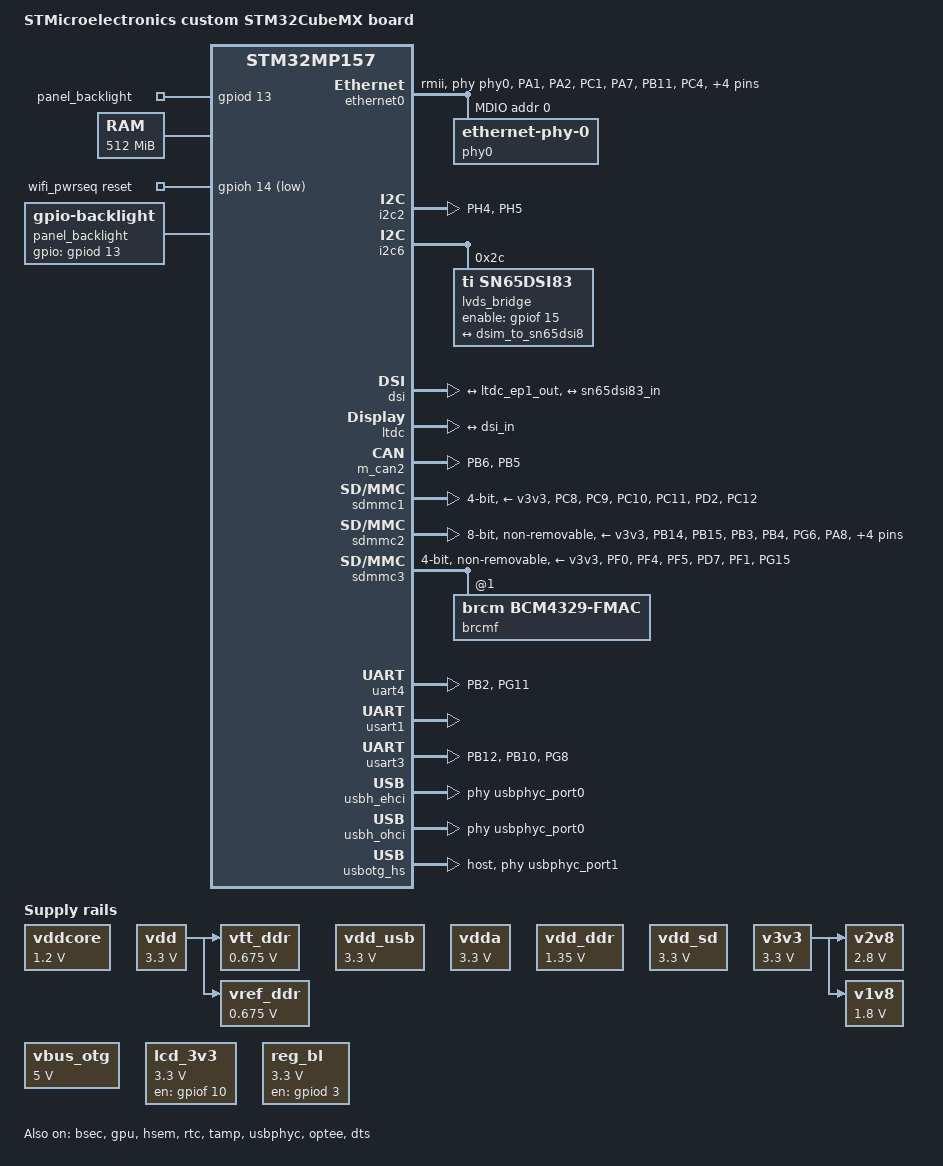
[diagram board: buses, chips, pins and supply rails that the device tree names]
/* SPDX-License-Identifier: (GPL-2.0+ OR BSD-3-Clause) */
/*
 * Copyright (C) STMicroelectronics 2020 - All Rights Reserved
 * Author: STM32CubeMX code generation for STMicroelectronics.
 */

/* For more information on Device Tree configuration, please refer to
 * https://wiki.st.com/stm32mpu/wiki/Category:Device_tree_configuration
 */

/dts-v1/;
#include <dt-bindings/pinctrl/stm32-pinfunc.h>

#include "stm32mp157.dtsi"
#include "stm32mp15xa.dtsi"
#include "stm32mp15-pinctrl.dtsi"
#include "stm32mp15xxaa-pinctrl.dtsi"
#include "stm32mp157-m4-srm.dtsi"
#include "stm32mp157-m4-srm-pinctrl.dtsi"

/* STM32MP157A
 * 512 DDR
 * 640MHz
 */

/ {
	model = "STMicroelectronics custom STM32CubeMX board";
	compatible = "st,stm32mp157a-icorestm32-mx", "st,stm32mp157";

	aliases {
		ethernet0 = &ethernet0;
		serial0 = &uart4; /*LINUX CONSOLE*/
		serial1 = &usart1; /*RS232*/
		serial2 = &usart3; /*RS485 */
	};

	usb_phy_tuning: usb-phy-tuning {
		st,hs-dc-level = <2>;
		st,fs-rftime-tuning;
		st,hs-rftime-reduction;
		st,hs-current-trim = <15>;
		st,hs-impedance-trim = <1>;
		st,squelch-level = <3>;
		st,hs-rx-offset = <2>;
		st,no-lsfs-sc;
	};

	gpio_export {
		compatible = "gpio-export";
		#size-cells = <0>;
		gpio-backlight {
			gpio-export,name = "panel_backlight";
			gpio-export,output = <1>;
			gpios = <&gpiod 13 GPIO_ACTIVE_HIGH>;
		};
	};

	memory@c0000000 {
		device_type = "memory";
		reg = <0xc0000000 0x20000000>;
	};

	reserved-memory {
		#address-cells = <1>;
		#size-cells = <1>;
		ranges;

		gpu_reserved: gpu@da000000 {
			reg = <0xda000000 0x4000000>;
			no-map;
		};

		optee_memory: optee@0xde000000 {
			reg = <0xde000000 0x02000000>;
			no-map;
		};

		mcuram2: mcuram2@10000000 {
			compatible = "shared-dma-pool";
			reg = <0x10000000 0x40000>;
			no-map;
		};

		vdev0vring0: vdev0vring0@10040000 {
			compatible = "shared-dma-pool";
			reg = <0x10040000 0x1000>;
			no-map;
		};

		vdev0vring1: vdev0vring1@10041000 {
			compatible = "shared-dma-pool";
			reg = <0x10041000 0x1000>;
			no-map;
		};

		vdev0buffer: vdev0buffer@10042000 {
			compatible = "shared-dma-pool";
			reg = <0x10042000 0x4000>;
			no-map;
		};

		mcuram: mcuram@30000000 {
			compatible = "shared-dma-pool";
			reg = <0x30000000 0x40000>;
			no-map;
		};

		retram: retram@38000000 {
			compatible = "shared-dma-pool";
			reg = <0x38000000 0x10000>;
			no-map;
		};
	};

	/* USER CODE BEGIN root */
	vddcore: regulator-vddcore {
		compatible = "regulator-fixed";
		regulator-name = "vddcore";
		regulator-min-microvolt = <1200000>;
		regulator-max-microvolt = <1200000>;
		regulator-always-on;
	};

	vdd: regulator-vdd {
		compatible = "regulator-fixed";
		regulator-name = "vdd";
		regulator-min-microvolt = <3300000>;
		regulator-max-microvolt = <3300000>;
		regulator-always-on;
	};

	vdd_usb: regulator-vdd_usb {
		compatible = "regulator-fixed";
		regulator-name = "vdd_usb";
		regulator-min-microvolt = <3300000>;
		regulator-max-microvolt = <3300000>;
		regulator-always-on;
	};

	vdda: regulator-vdda {
		compatible = "regulator-fixed";
		regulator-name = "vdda";
		regulator-min-microvolt = <3300000>;
		regulator-max-microvolt = <3300000>;
		regulator-always-on;
	};

	vdd_ddr: regulator-vdd_ddr {
		compatible = "regulator-fixed";
		regulator-name = "vdd_ddr";
		regulator-min-microvolt = <1350000>;
		regulator-max-microvolt = <1350000>;
		regulator-always-on;
	};

	vtt_ddr: regulator-vtt_ddr {
		compatible = "regulator-fixed";
		regulator-name = "vtt_ddr";
		regulator-min-microvolt = <675000>;
		regulator-max-microvolt = <675000>;
		regulator-always-on;
		vin-supply = <&vdd>;
	};

	vref_ddr: regulator-vref_ddr {
		compatible = "regulator-fixed";
		regulator-name = "vref_ddr";
		regulator-min-microvolt = <675000>;
		regulator-max-microvolt = <675000>;
		regulator-always-on;
		vin-supply = <&vdd>;
	};

	vdd_sd: regulator-vdd_sd {
		compatible = "regulator-fixed";
		regulator-name = "vdd_sd";
		regulator-min-microvolt = <3300000>;
		regulator-max-microvolt = <3300000>;
		regulator-always-on;
	};

	v3v3: regulator-v3v3 {
		compatible = "regulator-fixed";
		regulator-name = "v3v3";
		regulator-min-microvolt = <3300000>;
		regulator-max-microvolt = <3300000>;
		regulator-always-on;
	};

	v2v8: regulator-v2v8 {
		compatible = "regulator-fixed";
		regulator-name = "v2v8";
		regulator-min-microvolt = <2800000>;
		regulator-max-microvolt = <2800000>;
		regulator-always-on;
		vin-supply = <&v3v3>;
	};

	v1v8: regulator-v1v8 {
		compatible = "regulator-fixed";
		regulator-name = "v1v8";
		regulator-min-microvolt = <1800000>;
		regulator-max-microvolt = <1800000>;
		regulator-always-on;
		vin-supply = <&v3v3>;
	};

	vbus_otg: regulator-vbus_otg {
		compatible = "regulator-fixed";
		regulator-name = "vbus_otg";
		regulator-min-microvolt = <5000000>;
		regulator-max-microvolt = <5000000>;
		regulator-always-on;
	};

	lcd_3v3: regulator-lcd_3v3 {
		compatible = "regulator-fixed";
		regulator-name = "lcd_3v3";
		regulator-min-microvolt = <3300000>;
		regulator-max-microvolt = <3300000>;
		gpio = <&gpiof 10 0>;
		enable-active-high;
		regulator-always-on;
	};

reg_bl: regulator-bt {
	compatible = "regulator-fixed";
	regulator-name = "bt";
	regulator-min-microvolt = <3300000>;
	regulator-max-microvolt = <3300000>;
	gpio = <&gpiod 3 1>;
	startup-delay-us = <100>;
			enable-active-high;
			regulator-always-on;
};

wifi_pwrseq: wifi-pwrseq {
compatible = "mmc-pwrseq-simple";
reset-gpios = <&gpioh 14 1>;
startup-delay-us = <10000>;
enable-active-high;
};
	/* USER CODE END root */

	clocks {
		/* USER CODE BEGIN clocks */
		/* USER CODE END clocks */

#ifndef CONFIG_STM32MP1_TRUSTED
		clk_lsi: clk-lsi {
			clock-frequency = <32000>;
		};
		clk_hsi: clk-hsi {
			clock-frequency = <64000000>;
		};
		clk_csi: clk-csi {
			clock-frequency = <4000000>;
		};
		clk_lse: clk-lse {
			clock-frequency = <32768>;
		};
		clk_hse: clk-hse {
			clock-frequency = <24000000>;
		};
#endif	/*CONFIG_STM32MP1_TRUSTED*/
	};

    panel_backlight: panel-backlight {
	    compatible = "gpio-backlight";
	    gpios = <&gpiod 13 GPIO_ACTIVE_HIGH>;
	    default-on;
	    status = "okay";
    };

}; /*root*/

&pinctrl {
	u-boot,dm-pre-reloc;

	eth1_pins_mx: eth1_mx-0 {
		pins {
			pinmux =  <STM32_PINMUX('A', 1, AF0)>, /* ETH_CLK */
				<STM32_PINMUX('A', 2, AF11)>, /* ETH_MDIO */
				<STM32_PINMUX('C', 1, AF11)>, /* ETH_MDC */
				<STM32_PINMUX('A', 7, AF11)>, /* ETH_RX_DV */
				<STM32_PINMUX('B', 11, AF11)>, /* ETH_TX_EN */
				<STM32_PINMUX('C', 4, AF11)>, /* ETH_RX_D0 */
				<STM32_PINMUX('C', 5, AF11)>, /* ETH_RX_D1 */
				<STM32_PINMUX('G', 13, AF11)>, /* ETH_TX_D0 */
				<STM32_PINMUX('G', 14, AF11)>; /* ETH_TX_D1 */
			bias-disable;
			drive-push-pull;
			slew-rate = <3>;
	};
};

	fdcan1_pins_mx: fdcan1_mx-0 {
		pins1 {
			pinmux = <STM32_PINMUX('H', 13, AF9)>; /* FDCAN1_TX */
			bias-disable;
			drive-push-pull;
			slew-rate = <0>;
		};
		pins2 {
			pinmux = <STM32_PINMUX('H', 14, AF9)>; /* FDCAN1_RX */
			bias-disable;
		};
	};

	fdcan2_pins_mx: fdcan2_mx-0 {
			pins1 {
					pinmux = <STM32_PINMUX('B', 6, AF9)>; /* FDCAN2_TX */
					bias-disable;
					drive-push-pull;
					slew-rate = <0>;
			};
			pins2 {
					pinmux = <STM32_PINMUX('B', 5, AF9)>; /* FDCAN2_RX */
					bias-disable;
			};
	};

	i2c2_pins_mx: i2c2_mx-0 {
		pins {
			pinmux = <STM32_PINMUX('H', 4, AF4)>, /* I2C2_SCL */
					 <STM32_PINMUX('H', 5, AF4)>; /* I2C2_SDA */
			bias-disable;
			drive-open-drain;
			slew-rate = <0>;
		};
	};

	i2c4_pins_mx: i2c4_mx-0 {
		pins {
			pinmux = <STM32_PINMUX('H', 11, AF4)>, /* I2C4_SCL */
					 <STM32_PINMUX('H', 12, AF4)>; /* I2C4_SDA */
			bias-disable;
			drive-open-drain;
			slew-rate = <0>;
		};
	};

	sai1a_pins_mx: sai1a_mx-0 {
		pins {
			pinmux = <STM32_PINMUX('E', 2, AF6)>, /* SAI1_MCLK_A */
					 <STM32_PINMUX('E', 5, AF6)>, /* SAI1_SCK_A */
					 <STM32_PINMUX('E', 6, AF6)>, /* SAI1_SD_A */
					 <STM32_PINMUX('G', 15, AF6)>; /* SAI1_FS_A */
			bias-disable;
			drive-push-pull;
			slew-rate = <0>;
		};
	};

	sai1b_pins_mx: sai1b_mx-0 {
		pins {
			pinmux = <STM32_PINMUX('F', 6, AF6)>, /* SAI1_SD_B */
					 <STM32_PINMUX('F', 7, AF6)>, /* SAI1_MCLK_B */
					 <STM32_PINMUX('F', 8, AF6)>, /* SAI1_SCK_B */
					 <STM32_PINMUX('F', 9, AF6)>; /* SAI1_FS_B */
			bias-disable;
			drive-push-pull;
			slew-rate = <0>;
		};
	};

	sai2a_pins_mx: sai2a_mx-0 {
		pins {
			pinmux = <STM32_PINMUX('E', 0, AF10)>, /* SAI2_MCLK_A */
					 <STM32_PINMUX('I', 5, AF10)>, /* SAI2_SCK_A */
					 <STM32_PINMUX('I', 6, AF10)>, /* SAI2_SD_A */
					 <STM32_PINMUX('I', 7, AF10)>; /* SAI2_FS_A */
			bias-disable;
			drive-push-pull;
			slew-rate = <0>;
		};
	};

	sai2b_pins_mx: sai2b_mx-0 {
		pins {
			pinmux = <STM32_PINMUX('E', 11, AF10)>, /* SAI2_SD_B */
					 <STM32_PINMUX('E', 12, AF10)>, /* SAI2_SCK_B */
					 <STM32_PINMUX('E', 13, AF10)>, /* SAI2_FS_B */
					 <STM32_PINMUX('E', 14, AF10)>; /* SAI2_MCLK_B */
			bias-disable;
			drive-push-pull;
			slew-rate = <0>;
		};
	};

	sdmmc1_pins_mx: sdmmc1_mx-0 {
		u-boot,dm-pre-reloc;
		pins1 {
			u-boot,dm-pre-reloc;
			pinmux = <STM32_PINMUX('C', 8, AF12)>, /* SDMMC1_D0 */
					 <STM32_PINMUX('C', 9, AF12)>, /* SDMMC1_D1 */
					 <STM32_PINMUX('C', 10, AF12)>, /* SDMMC1_D2 */
					 <STM32_PINMUX('C', 11, AF12)>, /* SDMMC1_D3 */
					 <STM32_PINMUX('D', 2, AF12)>; /* SDMMC1_CMD */
			bias-pull-up;
			drive-push-pull;
			slew-rate = <1>;
		};
		pins2 {
			u-boot,dm-pre-reloc;
			pinmux = <STM32_PINMUX('C', 12, AF12)>; /* SDMMC1_CK */
			drive-push-pull;
			bias-pull-down;
			slew-rate = <3>;
		};
	};

	sdmmc1_opendrain_pins_mx: sdmmc1_opendrain_mx-0 {
		u-boot,dm-pre-reloc;
		pins1 {
			u-boot,dm-pre-reloc;
			pinmux = <STM32_PINMUX('C', 8, AF12)>, /* SDMMC1_D0 */
					 <STM32_PINMUX('C', 9, AF12)>, /* SDMMC1_D1 */
					 <STM32_PINMUX('C', 10, AF12)>, /* SDMMC1_D2 */
					 <STM32_PINMUX('C', 11, AF12)>; /* SDMMC1_D3 */
			bias-disable;
			drive-push-pull;
			slew-rate = <1>;
		};
		pins2 {
			u-boot,dm-pre-reloc;
			pinmux = <STM32_PINMUX('C', 12, AF12)>; /* SDMMC1_CK */
			bias-disable;
			drive-push-pull;
			slew-rate = <3>;
		};
		pins3 {
			u-boot,dm-pre-reloc;
			pinmux = <STM32_PINMUX('D', 2, AF12)>; /* SDMMC1_CMD */
			bias-disable;
			drive-open-drain;
			slew-rate = <1>;
		};
	};

	sdmmc2_pins_mx: sdmmc2_mx-0 {
		u-boot,dm-pre-reloc;
		pins1 {
				u-boot,dm-pre-reloc;
			pinmux = <STM32_PINMUX('B', 14, AF9)>, /* SDMMC2_D0 */
				 <STM32_PINMUX('B', 15, AF9)>, /* SDMMC2_D1 */
				 <STM32_PINMUX('B', 3, AF9)>, /* SDMMC2_D2 */
				 <STM32_PINMUX('B', 4, AF9)>, /* SDMMC2_D3 */
				 <STM32_PINMUX('G', 6, AF10)>, /* SDMMC2_CMD */
				 <STM32_PINMUX('A', 8, AF9)>, /* SDMMC2_D4 */
				 <STM32_PINMUX('A', 9, AF10)>, /* SDMMC2_D5 */
				 <STM32_PINMUX('E', 5, AF9)>, /* SDMMC2_D6 */
				 <STM32_PINMUX('C', 7, AF10)>, /* SDMMC2_D7 */
				 <STM32_PINMUX('E', 3, AF9)>; /* SDMMC2_CK */
			slew-rate = <3>;
			drive-push-pull;
			bias-pull-up;
		};
	};

	sdmmc2_opendrain_pins_mx: sdmmc2_opendrain_mx-0 {
		u-boot,dm-pre-reloc;
		pins1 {
			u-boot,dm-pre-reloc;
			pinmux = <STM32_PINMUX('A', 8, AF9)>, /* SDMMC2_D4 */
					 <STM32_PINMUX('A', 9, AF10)>, /* SDMMC2_D5 */
					 <STM32_PINMUX('B', 3, AF9)>, /* SDMMC2_D2 */
					 <STM32_PINMUX('B', 4, AF9)>, /* SDMMC2_D3 */
					 <STM32_PINMUX('B', 14, AF9)>, /* SDMMC2_D0 */
					 <STM32_PINMUX('B', 15, AF9)>, /* SDMMC2_D1 */
					 <STM32_PINMUX('C', 7, AF10)>, /* SDMMC2_D7 */
					 <STM32_PINMUX('E', 5, AF9)>, /* SDMMC2_D6 */
					 <STM32_PINMUX('E', 3, AF9)>; /* SDMMC2_CK */
			bias-pull-up;
			drive-push-pull;
			slew-rate = <1>;
		};
		pins2 {
			u-boot,dm-pre-reloc;
			pinmux = <STM32_PINMUX('G', 6, AF10)>; /* SDMMC2_CMD */
			bias-pull-up;
			drive-open-drain;
			slew-rate = <3>;
		};
	};

	sdmmc3_pins_mx: sdmmc3_mx-0 {
			u-boot,dm-pre-reloc;
			pins1 {
							pinmux = <STM32_PINMUX('F', 0, AF9)>, /* SDMMC3_D0 */
													<STM32_PINMUX('F', 4, AF9)>, /* SDMMC3_D1 */
													<STM32_PINMUX('F', 5, AF9)>, /* SDMMC3_D2 */
													<STM32_PINMUX('D', 7, AF10)>, /* SDMMC3_D3 */
													<STM32_PINMUX('F', 1, AF9)>; /* SDMMC3_CMD */
							slew-rate = <0>;
							drive-push-pull;
							bias-pull-up;
			};
			pins2 {
							pinmux = <STM32_PINMUX('G', 15, AF10)>; /* SDMMC3_CK */
							slew-rate = <0>;
							drive-push-pull;
			};
	};

	sdmmc3_opendrain_pins_mx: sdmmc3_opendrain_mx-0 {
		u-boot,dm-pre-reloc;
		pins1 {
			u-boot,dm-pre-reloc;
			pinmux = <STM32_PINMUX('F', 0, AF9)>, /* SDMMC3_D0 */
				<STM32_PINMUX('F', 4, AF9)>, /* SDMMC3_D1 */
				<STM32_PINMUX('F', 5, AF9)>, /* SDMMC3_D2 */
				<STM32_PINMUX('D', 7, AF10)>, /* SDMMC3_D3 */
				<STM32_PINMUX('G', 15, AF10)>; /* SDMMC3_CK */
			bias-pull-up;
			drive-push-pull;
			slew-rate = <0>;
		};
		pins2 {
			u-boot,dm-pre-reloc;
			pinmux = <STM32_PINMUX('G', 15, AF10)>; /* SDMMC1_CK */
			bias-disable;
			drive-push-pull;
			slew-rate = <0>;
		};
		pins3 {
			u-boot,dm-pre-reloc;
			pinmux = <STM32_PINMUX('F', 1, AF9)>; /* SDMMC1_CMD */
			bias-disable;
			drive-open-drain;
			slew-rate = <0>;
		};
	};

	uart4_pins_mx: uart4_mx-0 {
		u-boot,dm-pre-reloc;
		pins1 {
			u-boot,dm-pre-reloc;
			pinmux = <STM32_PINMUX('B', 2, AF8)>; /* UART4_RX */
			bias-disable;
		};
		pins2 {
			u-boot,dm-pre-reloc;
			pinmux = <STM32_PINMUX('G', 11, AF6)>; /* UART4_TX */
			bias-disable;
			drive-push-pull;
			slew-rate = <0>;
		};
	};

	usart3_pins_mx: usart3_mx-0 {
			u-boot,dm-pre-reloc;
			pins1 {
					u-boot,dm-pre-reloc;
					pinmux = <STM32_PINMUX('B', 12, AF8)>; /* USART3_RX */
					bias-disable;
			};
			pins2 {
					u-boot,dm-pre-reloc;
					pinmux = <STM32_PINMUX('B', 10, AF7)>, /* USART3_TX */
									 <STM32_PINMUX('G', 8, AF8)>; /* USART3_RTS */
					bias-disable;
					drive-push-pull;
					slew-rate = <0>;
			};
	};

	usb_otg_hs_pins_mx: usb_otg_hs_mx-0 {
		u-boot,dm-pre-reloc;
		pins {
			u-boot,dm-pre-reloc;
			pinmux = <STM32_PINMUX('A', 10, ANALOG)>; /* USB_OTG_HS_ID */
		};
	};

	pinctrl_st1232_ts: pinctrl_st1232_ts-0 {
					pins {
						pinmux = <STM32_PINMUX('I', 4, GPIO)>;
					};
	};

	pinctrl_edt_ft5x26: pinctrl_edt_ft5x26-0 {
					pins {
		pinmux = <STM32_PINMUX('H', 10, GPIO)>;
		};
	};
	pinctrl_bridge_lvds: pinctrl_bridge_lvds-0 {
					pins {
						pinmux = <STM32_PINMUX('F', 12, GPIO)>,
		 									<STM32_PINMUX('F', 15, GPIO)>;
		 };
	};

	lcd_pins_icore: lcd-0 {
			pins {
					pinmux = <STM32_PINMUX('I', 12,  AF14)>,/* LCD_HSYNC */
									<STM32_PINMUX('I', 13,  AF14)>,/* LCD_VSYNC */
									<STM32_PINMUX('I', 14,  AF14)>,/* LCD_PIXCLK */
									<STM32_PINMUX('I', 15,  AF14)>,/* LCD_R0 */
									<STM32_PINMUX('J', 0,  AF14)>,/* LCD_R1 */
									<STM32_PINMUX('J', 1,  AF14)>,/* LCD_R2 */
									<STM32_PINMUX('J', 2,  AF14)>,/* LCD_R3 */
									<STM32_PINMUX('J', 3,  AF14)>,/* LCD_R4 */
									<STM32_PINMUX('J', 4,  AF14)>,/* LCD_R5 */
									<STM32_PINMUX('J', 5,  AF14)>,/* LCD_R6 */
									<STM32_PINMUX('J', 6,  AF14)>,/* LCD_R7 */
									<STM32_PINMUX('J', 7,  AF14)>,/* LCD_G0 */
									<STM32_PINMUX('J', 8,  AF14)>,/* LCD_G1 */
									<STM32_PINMUX('J', 9,  AF14)>,/* LCD_G2 */
									<STM32_PINMUX('J', 10,  AF14)>,/* LCD_G3 */
									<STM32_PINMUX('J', 11,  AF14)>,/* LCD_G4 */
									<STM32_PINMUX('J', 12,  AF14)>,/* LCD_B0 */
									<STM32_PINMUX('J', 13,  AF14)>,/* LCD_B1 */
									<STM32_PINMUX('J', 14,  AF14)>,/* LCD_B2 */
									<STM32_PINMUX('J', 15,  AF14)>,/* LCD_B3 */
									<STM32_PINMUX('K', 0,  AF14)>,/* LCD_G5 */
									<STM32_PINMUX('K', 1,  AF14)>,/* LCD_G6 */
									<STM32_PINMUX('K', 2,  AF14)>,/* LCD_G7 */
									<STM32_PINMUX('K', 3,  AF14)>,/* LCD_B4 */
									<STM32_PINMUX('K', 4,  AF14)>,/* LCD_B5 */
									<STM32_PINMUX('K', 5,  AF14)>,/* LCD_B6 */
									<STM32_PINMUX('K', 6,  AF14)>,/* LCD_B7 */
									<STM32_PINMUX('K', 7,  AF14)>;/* LCD_DE */
					bias-disable;
					drive-push-pull;
					slew-rate = <3>;
			};
	};
};


&pinctrl_z {
	u-boot,dm-pre-reloc;

	i2c6_pins_z_mx: i2c6_mx-0 {
			pins {
					pinmux = <STM32_PINMUX('Z', 7, AF2)>, /* I2C6_SDA */
									 <STM32_PINMUX('Z', 6, AF2)>; /* I2C6_SCL */
					bias-disable;
					drive-open-drain;
					slew-rate = <0>;
			};
	};

	usart1_pins_mx: usart1_mx-0 {
			u-boot,dm-pre-reloc;
			pins1 {
					u-boot,dm-pre-reloc;
					pinmux = <STM32_PINMUX('Z', 1, AF7)>; /* USART1_RX */
					bias-disable;
			};
			pins2 {
					u-boot,dm-pre-reloc;
					pinmux = <STM32_PINMUX('Z', 2, AF7)>; /* USART1_TX */
					bias-disable;
					drive-push-pull;
					slew-rate = <0>;
			};
	};

};

&m4_rproc{
	status = "disabled";
};

&bsec{
	status = "okay";
};

/* USER CODE BEGIN ethernet0 */
&ethernet0 {
	pinctrl-names = "default";
	pinctrl-0 = <&eth1_pins_mx>;
	phy-mode = "rmii";
	max-speed = <100>;
	phy-handle = <&phy0>;
	snps,ps-speed = <100>;
	st,eth-ref-clk-sel = <1>;
	status = "okay";

	clock-names = "stmmaceth",
							"mac-clk-tx",
							"mac-clk-rx",
							"ethstp",
							"syscfg-clk",
							"eth-ck";

	clocks = <&rcc ETHMAC>,
					<&rcc ETHTX>,
					<&rcc ETHRX>,
					<&rcc ETHSTP>,
					<&rcc SYSCFG>,
					<&rcc ETHCK_K>;

	snps,reset-gpio = <&gpiod 10 GPIO_ACTIVE_LOW>;
		snps,reset-delays-us = <25>;
		snps,reset-active-low;

		mdio0 {
		#address-cells = <1>;
		#size-cells = <0>;
		compatible = "snps,dwmac-mdio";

		phy0: ethernet-phy-0 {
			reg = <0>;
		};
	};
};


&fmc{
	status = "disabled";
};

&gpu{
	status = "okay";
};

&hsem{
	status = "okay";
};

&i2c2{
	pinctrl-names = "default";
	pinctrl-0 = <&i2c2_pins_mx>;
	i2c-scl-rising-time-ns = <185>;
	i2c-scl-falling-time-ns = <20>;
	status = "okay";
	/delete-property/dmas;
	/delete-property/dma-names;
};

&i2c4{
	pinctrl-names = "default";
	pinctrl-0 = <&i2c4_pins_mx>;
	status = "disabled";
};

&i2c6{
  pinctrl-names = "default";
  pinctrl-0 = <&i2c6_pins_z_mx>;
	i2c-scl-rising-time-ns = <185>;
	i2c-scl-falling-time-ns = <20>;
	status = "okay";
	/delete-property/dmas;
	/delete-property/dma-names;

	/* USER CODE BEGIN i2c6 */
	lvds_bridge: sn65dsi83@2c {
		compatible = "ti,sn65dsi83";
		reg = <0x2c>;
		ti,dsi-lanes = <2>;
		ti,lvds-format = <2>;
		ti,lvds-bpp = <24>;
		ti,width-mm = <149>;
		ti,height-mm = <93>;
		enable-gpios = <&gpiof 15  GPIO_ACTIVE_HIGH>;
		pinctrl-0 = <&pinctrl_bridge_lvds>;
		status = "okay";

		display-timings {
				lvds {
					clock-frequency = <60000000>;
					hactive = <1280>;
					vactive = <800>;
					hback-porch = <60>;
					hfront-porch = <100>;
					vback-porch = <8>;
					vfront-porch = <15>;
					hsync-len = <2>;
					vsync-len = <1>;
					hsync-active = <0>;
					vsync-active = <0>;
					de-active = <1>;
					pixelclk-active = <0>;
				};
		};

			port {
					sn65dsi83_in: endpoint {
							remote-endpoint = <&dsim_to_sn65dsi8>;
					};
			};
	};
};

&dsi {
	#address-cells = <1>;
	#size-cells = <0>;
	status = "okay";

	ports {
		#address-cells = <1>;
		#size-cells = <0>;

		port@0 {
			reg = <0>;
			dsi_in: endpoint {
				remote-endpoint = <&ltdc_ep1_out>;
			};
		};

		port@1 {
			reg = <1>;
			dsim_to_sn65dsi8: endpoint {
				remote-endpoint = <&sn65dsi83_in>;
			};
		};
	};
};

&ltdc {
	status = "okay";

	backlight = <&panel_backlight>;

	port {
		#address-cells = <1>;
		#size-cells = <0>;

		ltdc_ep1_out: endpoint@0 {
			reg = <0>;
			remote-endpoint = <&dsi_in>;
		};
	};
};

&m_can2{
	pinctrl-names = "default";
	pinctrl-0 = <&fdcan2_pins_mx>;
	status = "okay";
};

&dma1 {
	status = "okay";
};

&dma2 {
	status = "okay";
};

&rcc{
	u-boot,dm-pre-reloc;
	status = "okay";
};

&rtc{
	status = "okay";
};

&sai1{
	pinctrl-names = "default";
	pinctrl-0 = <&sai1a_pins_mx>, <&sai1b_pins_mx>;
	status = "disabled";

	sai1a:audio-controller@4400a004{
		status = "okay";
	};

	sai1b:audio-controller@4400a024{
		status = "okay";
	};
};

&sai2{
	pinctrl-names = "default";
	pinctrl-0 = <&sai2a_pins_mx>, <&sai2b_pins_mx>;
	status = "disabled";

	sai2a:audio-controller@4400b004{
		status = "okay";
	};

	sai2b:audio-controller@4400b024{
		status = "okay";
	};
};

&sdmmc1{
	u-boot,dm-pre-reloc;
	pinctrl-names = "default", "opendrain";
	pinctrl-0 = <&sdmmc1_pins_mx>;
	pinctrl-1 = <&sdmmc1_opendrain_pins_mx>;
	status = "okay";

	broken-cd;
	disable-wp;
	st,neg-edge;
	bus-width = <4>;
	max-frequency = <10000000>;
	vmmc-supply = <&v3v3>;
};

&sdmmc2 {
	u-boot,dm-pre-reloc;
	pinctrl-names = "default", "opendrain";
	pinctrl-0 = <&sdmmc2_pins_mx>;
	pinctrl-1 = <&sdmmc2_opendrain_pins_mx>;
	status = "okay";

	no-1-8-v;
	non-removable;
	no-sd;
	no-sdio;
	st,neg-edge;
	bus-width = <8>;
	vmmc-supply = <&v3v3>;
	vqmmc-supply = <&v3v3>;
	max-frequency = <50000000>;
};

&sdmmc3{
	#address-cells = <1>;
	#size-cells = <0>;
	u-boot,dm-pre-reloc;
	arm,primecell-periphid = <0x10153180>;
	pinctrl-names = "default", "opendrain";
	pinctrl-0 = <&sdmmc3_pins_mx>;
	pinctrl-1 = <&sdmmc3_opendrain_pins_mx>;
	status = "okay";

	non-removable;
	st,neg-edge;
	bus-width = <4>;
	max-frequency = <25000000>;
	vmmc-supply = <&v3v3>;
	mmc-pwrseq = <&wifi_pwrseq>;

	brcmf: wifi@1 {
	compatible = "brcm,bcm4329-fmac";
	reg = <1>;
	};

};

&tamp{
	status = "okay";
};

/* Console     */
&uart4{
	u-boot,dm-pre-reloc;
	pinctrl-names = "default";
	pinctrl-0 = <&uart4_pins_mx>;
	status = "okay";

};

/* RS232     */
&usart1{
	u-boot,dm-pre-reloc;
	pinctrl-names = "default";
	pinctrl-0 = <&usart1_pins_mx>;
	status = "okay";
};


&usart3{
	u-boot,dm-pre-reloc;
	pinctrl-names = "default";
	pinctrl-0 = <&usart3_pins_mx>;
	linux,rs485-enabled-at-boot-time;
	status = "okay";
};

&usbh_ehci {
	phys = <&usbphyc_port0>;
	phy-names = "usb";
	status = "okay";
};

&usbh_ohci {
	phys = <&usbphyc_port0>;
	phy-names = "usb";
	status = "okay";
};

&usbotg_hs {
	dr_mode = "host";
	force-b-session-valid;
	phys = <&usbphyc_port1 0>;
	phy-names = "usb2-phy";
	status = "okay";
};

&usbphyc {
	status = "okay";
};


&usbphyc_port0 {
	st,phy-tuning = <&usb_phy_tuning>;
};

&usbphyc_port1 {
	st,phy-tuning = <&usb_phy_tuning>;
};

&cpu0{
	cpu-supply = <&vddcore>;
};

&cpu1{
	cpu-supply = <&vddcore>;
};

&optee {
	status = "okay";
};

&dts {
	status = "okay";
};
